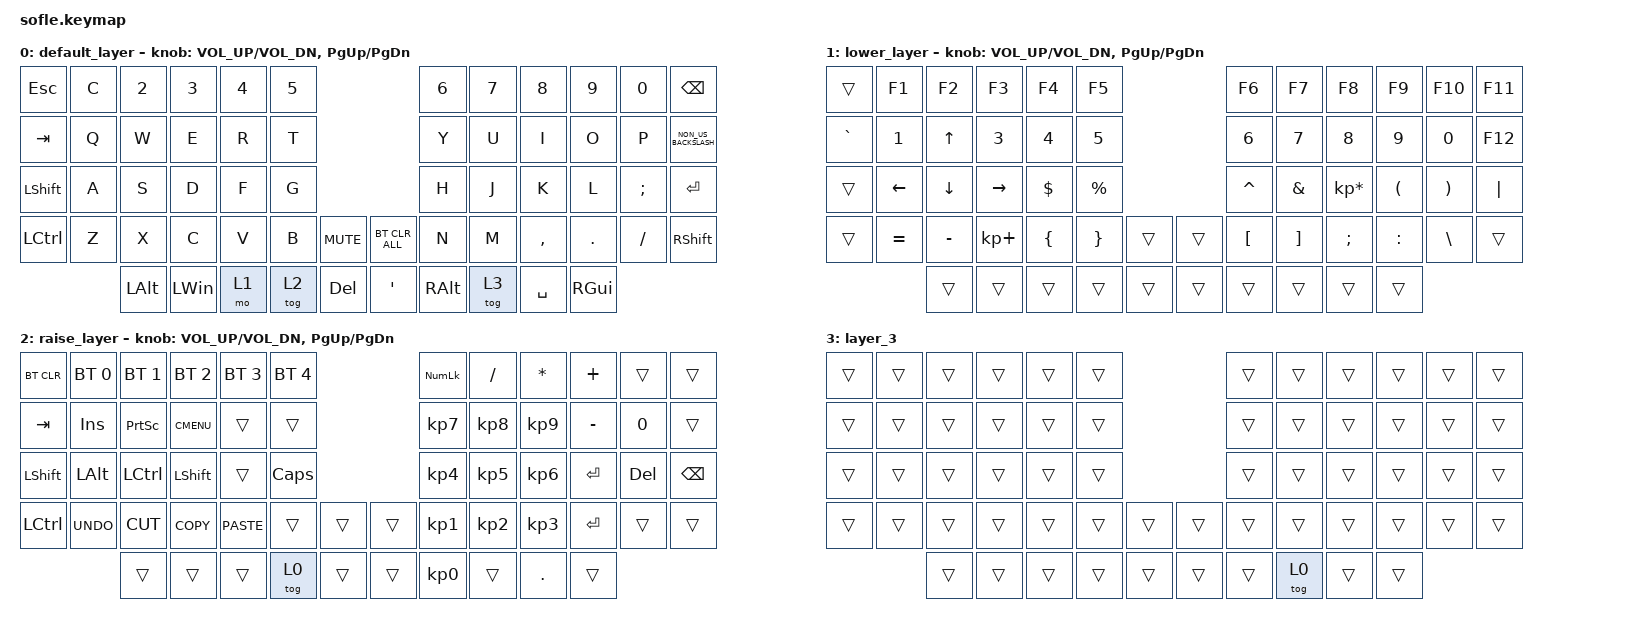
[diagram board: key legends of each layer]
/*
 * Copyright (c) 2020 The ZMK Contributors
 *
 * SPDX-License-Identifier: MIT
 */

#include <behaviors.dtsi>
#include <dt-bindings/zmk/bt.h>
#include <dt-bindings/zmk/keys.h>

/ {
    keymap {
        compatible = "zmk,keymap";

        default_layer {
            // ------------------------------------------------------------------------------------------------------------
            // |  `    |  1  |  2  |  3   |  4   |  5   |                   |  6   |  7    |  8    |  9   |   0   |       |
            // |  ESC  |  Q  |  W  |  E   |  R   |  T   |                   |  Y   |  U    |  I    |  O   |   P   | BKSPC |
            // |  TAB  |  A  |  S  |  D   |  F   |  G   |                   |  H   |  J    |  K    |  L   |   ;   |   '   |
            // | SHIFT |  Z  |  X  |  C   |  V   |  B   |  MUTE  |  |       |  N   |  M    |  ,    |  .   |   /   | SHIFT |
            //               | GUI | ALT  | CTRL | LOWER|  ENTER |  | SPACE | RAISE| CTRL  | ALT   | GUI  |

            bindings = <
&kp ESCAPE        &kp C  &kp N2        &kp N3        &kp N4  &kp N5                                &kp N6         &kp N7  &kp N8     &kp N9    &kp N0    &kp BACKSPACE
&kp TAB           &kp Q  &kp W         &kp E         &kp R   &kp T                                 &kp Y          &kp U   &kp I      &kp O     &kp P     &kp NON_US_BACKSLASH
&kp LEFT_SHIFT    &kp A  &kp S         &kp D         &kp F   &kp G                                 &kp H          &kp J   &kp K      &kp L     &kp SEMI  &kp ENTER
&kp LEFT_CONTROL  &kp Z  &kp X         &kp C         &kp V   &kp B   &kp C_MUTE    &bt BT_CLR_ALL  &kp N          &kp M   &kp COMMA  &kp DOT   &kp FSLH  &kp RSHFT
                         &kp LEFT_ALT  &kp LEFT_WIN  &mo 1   &tog 2  &kp DEL       &kp SQT         &kp RIGHT_ALT  &tog 3  &kp SPACE  &kp RGUI
            >;

            sensor-bindings = <&inc_dec_kp C_VOL_UP C_VOL_DN &inc_dec_kp PG_UP PG_DN>;
        };

        lower_layer {
            // TODO: Some binds are waiting for shifted keycode support.
            // ------------------------------------------------------------------------------------------------------------
            // |       |  F1 |  F2 |  F3  |  F4  |  F5  |                   |  F6  |  F7   |  F8   |  F9  |  F10  |  F11  |
            // | `     |   1 |   2 |   3  |   4  |   5  |                   |   6  |   7   |   8   |   9  |    0  |  F12  |
            // |       |  !  |  @  |  #   |  $   |  %   |                   |  ^   |  &    |  *    |  (   |   )   |   |   |
            // |       |  =  |  -  |  +   |  {   |  }   |        |  |       |  [   |  ]    |  ;    |  :   |   \   |       |
            //               |     |      |      |      |        |  |       |      |       |       |      |

            bindings = <
&trans     &kp F1          &kp F2          &kp F3       &kp F4    &kp F5                       &kp F6     &kp F7    &kp F8           &kp F9     &kp F10   &kp F11
&kp GRAVE  &kp N1          &kp UP_ARROW    &kp N3       &kp N4    &kp N5                       &kp N6     &kp N7    &kp N8           &kp N9     &kp N0    &kp F12
&trans     &kp LEFT_ARROW  &kp DOWN_ARROW  &kp RIGHT    &kp DLLR  &kp PRCNT                    &kp CARET  &kp AMPS  &kp KP_MULTIPLY  &kp LPAR   &kp RPAR  &kp PIPE
&trans     &kp EQUAL       &kp MINUS       &kp KP_PLUS  &kp LBRC  &kp RBRC   &trans    &trans  &kp LBKT   &kp RBKT  &kp SEMI         &kp COLON  &kp BSLH  &trans
                           &trans          &trans       &trans    &trans     &trans    &trans  &trans     &trans    &trans           &trans
            >;

            sensor-bindings = <&inc_dec_kp C_VOL_UP C_VOL_DN &inc_dec_kp PG_UP PG_DN>;
        };

        raise_layer {
            // ------------------------------------------------------------------------------------------------------------
            // |BTCLR| BT1  | BT2  |  BT3  |  BT4  |  BT5 |                |      |      |       |      |       |       |
            // |     | INS  | PSCR | GUI   |       |      |                | PGUP |      |       |      |       |       |
            // |     | ALT  | CTRL | SHIFT |       | CAPS |                |  <-  |   v  |   ^   |  ->  |  DEL  | BKSPC |
            // |     | UNDO | CUT  | COPY  | PASTE |      |      |  |      |      |      |       |      |       |       |
            //              |      |       |       |      |      |  |      |      |      |       |      |

            bindings = <
&bt BT_CLR  &bt BT_SEL 0  &bt BT_SEL 1  &bt BT_SEL 2  &bt BT_SEL 3  &bt BT_SEL 4                    &kp KP_NUMLOCK   &kp SLASH        &kp ASTERISK     &kp PLUS    &trans   &trans
&kp TAB     &kp INS       &kp PSCRN     &kp K_CMENU   &trans        &trans                          &kp KP_NUMBER_7  &kp KP_NUMBER_8  &kp KP_NUMBER_9  &kp MINUS   &kp N0   &trans
&kp LSHIFT  &kp LALT      &kp LCTRL     &kp LSHFT     &trans        &kp CLCK                        &kp KP_NUMBER_4  &kp KP_NUMBER_5  &kp KP_NUMBER_6  &kp RETURN  &kp DEL  &kp BSPC
&kp LCTRL   &kp K_UNDO    &kp K_CUT     &kp K_COPY    &kp K_PASTE   &trans        &trans    &trans  &kp KP_NUMBER_1  &kp KP_NUMBER_2  &kp KP_NUMBER_3  &kp RETURN  &trans   &trans
                          &trans        &trans        &trans        &tog 0        &trans    &trans  &kp KP_NUMBER_0  &trans           &kp DOT          &trans
            >;

            sensor-bindings = <&inc_dec_kp C_VOL_UP C_VOL_DN &inc_dec_kp PG_UP PG_DN>;
        };

        layer_3 {
            bindings = <
&trans  &trans  &trans  &trans  &trans  &trans                    &trans  &trans  &trans  &trans  &trans  &trans
&trans  &trans  &trans  &trans  &trans  &trans                    &trans  &trans  &trans  &trans  &trans  &trans
&trans  &trans  &trans  &trans  &trans  &trans                    &trans  &trans  &trans  &trans  &trans  &trans
&trans  &trans  &trans  &trans  &trans  &trans  &trans    &trans  &trans  &trans  &trans  &trans  &trans  &trans
                &trans  &trans  &trans  &trans  &trans    &trans  &trans  &tog 0  &trans  &trans
            >;
        };
    };
};
